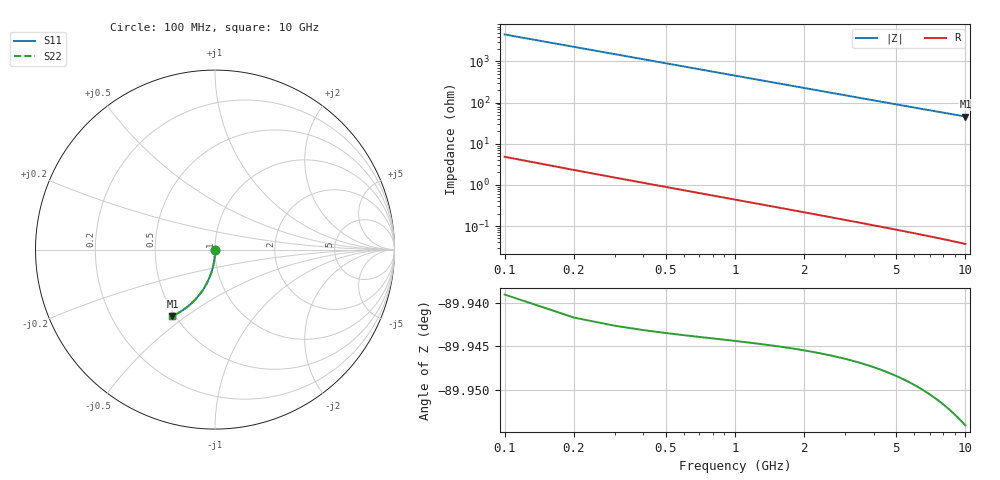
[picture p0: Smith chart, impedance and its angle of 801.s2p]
# Hz S RI R 50.00
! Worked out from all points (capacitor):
!   100 points, 100 MHz to 10 GHz, reference 50 ohm
!   read as one part in shunt: C = 353 fF near 100 MHz
!   lowest |Z| = 45.8 ohm at 10 GHz (marker M1)
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1e8  0.000318 -0.00497  0.9996 -0.0061  0.9996 -0.0061  0.000318 -0.00497
2e8  0.000224 -0.00994  0.9995 -0.0122  0.9995 -0.0122  0.000224 -0.00994
3e8  6.84e-05 -0.0149  0.9993 -0.0183  0.9993 -0.0183  6.84e-05 -0.0149
4e8  -0.000148 -0.0199  0.9991 -0.0244  0.9991 -0.0244  -0.000148 -0.0199
5e8  -0.000425 -0.0248  0.9988 -0.0305  0.9988 -0.0305  -0.000425 -0.0248
6e8  -0.000762 -0.0298  0.9985 -0.0366  0.9985 -0.0366  -0.000762 -0.0298
7e8  -0.00116 -0.0348  0.9981 -0.0427  0.9981 -0.0427  -0.00116 -0.0348
8e8  -0.00162 -0.0397  0.9976 -0.0488  0.9976 -0.0488  -0.00162 -0.0397
9e8  -0.00214 -0.0446  0.9971 -0.0548  0.9971 -0.0548  -0.00214 -0.0446
1.1e9  -0.00335 -0.0545  0.9958 -0.0669  0.9958 -0.0669  -0.00335 -0.0545
1.4e9  -0.00563 -0.0692  0.9935 -0.085  0.9935 -0.085  -0.00563 -0.0692
1.8e9  -0.00948 -0.0886  0.9896 -0.109  0.9896 -0.109  -0.00948 -0.0886
2.1e9  -0.013 -0.103  0.986 -0.1267  0.986 -0.1267  -0.013 -0.103
2.5e9  -0.0184 -0.1218  0.9804 -0.1502  0.9804 -0.1502  -0.0184 -0.1218
2.9e9  -0.0247 -0.1404  0.974 -0.1732  0.974 -0.1732  -0.0247 -0.1404
3.4e9  -0.0338 -0.1629  0.9647 -0.2015  0.9647 -0.2015  -0.0338 -0.1629
4.2e9  -0.0509 -0.1975  0.9472 -0.2451  0.9472 -0.2451  -0.0509 -0.1975
5.1e9  -0.0736 -0.2336  0.9239 -0.2916  0.9239 -0.2916  -0.0736 -0.2336
5.9e9  -0.0964 -0.2631  0.9006 -0.3302  0.9006 -0.3302  -0.0964 -0.2631
6.7e9  -0.1212 -0.2898  0.8751 -0.3661  0.8751 -0.3661  -0.1212 -0.2898
8.4e9  -0.1791 -0.3372  0.8155 -0.4331  0.8155 -0.4331  -0.1791 -0.3372
1e10  -0.2373 -0.3699  0.7552 -0.4845  0.7552 -0.4845  -0.2373 -0.3699
